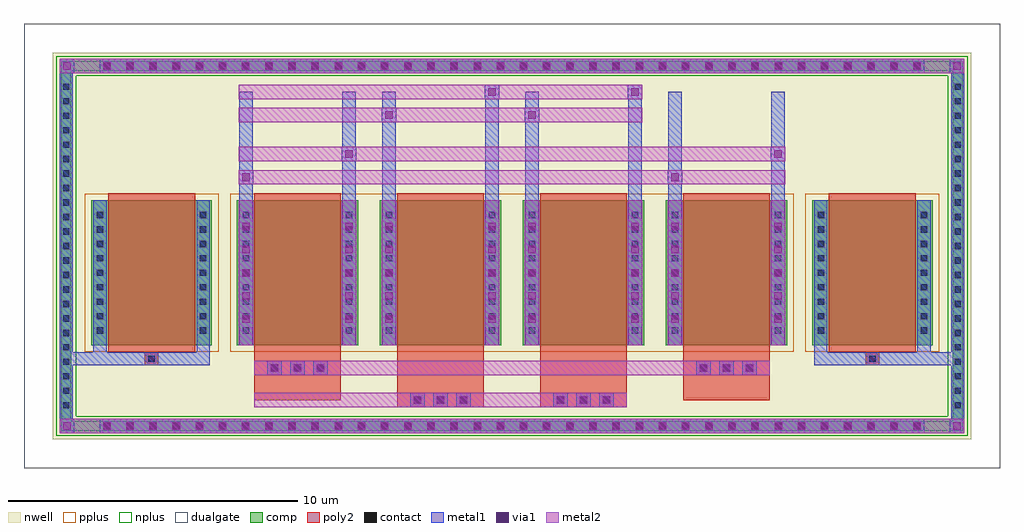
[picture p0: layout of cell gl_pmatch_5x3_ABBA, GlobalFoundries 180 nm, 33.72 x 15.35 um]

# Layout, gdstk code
import gdstk
lib = gdstk.Library(unit=1e-6, precision=1e-09)
def R(c, l, rs):  # rectangles x0, y0, x1, y1
    for r in rs: c.add(gdstk.rectangle(r[:2], r[2:], *l))
def A(c, l, x, y, w, h, nx, ny, dx, dy):  # array of equal rectangles
    R(c, l, [(x+i*dx, y+j*dy, x+i*dx+w, y+j*dy+h) for i in range(nx) for j in range(ny)])
def P(c, l, *ps):  # polygons
    for p in ps: c.add(gdstk.Polygon(p, *l))
nwell = (21, 0)
comp = (22, 0)
poly2 = (30, 0)
pplus = (31, 0)
nplus = (32, 0)
contact = (33, 0)
metal1 = (34, 0)
via1 = (35, 0)
metal2 = (36, 0)
dualgate = (55, 0)

gl_pmatch_5x3_abba = lib.new_cell('gl_pmatch_5x3_ABBA')
R(gl_pmatch_5x3_abba, nwell, [(-15.86,-6.675,15.86,6.675), (-15.7,-6.515,15.7,6.515)])
A(gl_pmatch_5x3_abba, comp, -14.18, -6.395, 0.36, 0.36, 36, 2, 0.8, 12.43)
A(gl_pmatch_5x3_abba, comp, -15.58, -5.68, 0.36, 0.36, 1, 23, 0, 0.5)
A(gl_pmatch_5x3_abba, comp, 15.22, -5.68, 0.36, 0.36, 1, 23, 0, 0.5)
A(gl_pmatch_5x3_abba, comp, -9.51, -3.425, 4.2, 5, 4, 1, 4.94, 0)
R(gl_pmatch_5x3_abba, comp, [(-14.18,-6.395,14.18,-6.035), (-15.58,-5.68,-15.22,5.68), (15.22,-5.68,15.58,5.68), (-14.53,-3.425,-10.37,1.575), (10.37,-3.425,14.53,1.575), (-14.18,6.035,14.18,6.395)])
P(gl_pmatch_5x3_abba, comp, [(-15.58,-6.395),(-15.58,-6.035),(-15.22,-6.035),(15.22,-6.035),(15.22,6.035),(-15.22,6.035),(-15.22,-6.035),(-15.58,-6.035),(-15.58,6.395),(15.58,6.395),(15.58,-6.395)])
A(gl_pmatch_5x3_abba, poly2, -3.45, -5.505, 0.36, 0.36, 3, 1, 0.8, 0)
A(gl_pmatch_5x3_abba, poly2, 1.49, -5.505, 0.36, 0.36, 3, 1, 0.8, 0)
A(gl_pmatch_5x3_abba, poly2, -8.39, -4.395, 0.36, 0.36, 3, 1, 0.8, 0)
A(gl_pmatch_5x3_abba, poly2, 6.43, -4.395, 0.36, 0.36, 3, 1, 0.8, 0)
A(gl_pmatch_5x3_abba, poly2, -8.91, -3.665, 3, 5.48, 4, 1, 4.94, 0)
R(gl_pmatch_5x3_abba, poly2, [(-3.97,-5.575,-0.97,-5.075), (0.97,-5.575,3.97,-5.075), (-8.91,-5.325,-5.91,-3.665), (5.91,-5.325,8.91,-3.665), (-3.97,-5.075,-0.97,-3.665), (0.97,-5.075,3.97,-3.665), (-8.91,-4.465,-5.91,-3.965), (5.91,-4.465,8.91,-3.965), (-12.68,-4.125,-12.22,-3.665), (12.22,-4.125,12.68,-3.665), (-12.63,-4.075,-12.27,-3.715), (12.27,-4.075,12.63,-3.715), (-8.91,-3.965,-5.91,-3.665), (5.91,-3.965,8.91,-3.665), (-13.95,-3.665,-10.95,1.815), (10.95,-3.665,13.95,1.815)])
A(gl_pmatch_5x3_abba, pplus, -9.74, -3.655, 4.66, 5.46, 4, 1, 4.94, 0)
R(gl_pmatch_5x3_abba, pplus, [(-14.76,-3.655,-10.14,1.805), (-9.74,-3.655,9.74,1.805), (10.14,-3.655,14.76,1.805)])
P(gl_pmatch_5x3_abba, nplus, [(-15.74,-6.555),(-15.74,-5.875),(-15.06,-5.875),(15.06,-5.875),(15.06,5.875),(-15.06,5.875),(-15.06,-5.875),(-15.74,-5.875),(-15.74,6.555),(15.74,6.555),(15.74,-6.555)])
A(gl_pmatch_5x3_abba, contact, -14.11, -6.325, 0.22, 0.22, 36, 2, 0.8, 12.43)
A(gl_pmatch_5x3_abba, contact, -15.51, -5.61, 0.22, 0.22, 1, 23, 0, 0.5)
A(gl_pmatch_5x3_abba, contact, 15.29, -5.61, 0.22, 0.22, 1, 23, 0, 0.5)
A(gl_pmatch_5x3_abba, contact, -3.38, -5.435, 0.22, 0.22, 3, 1, 0.8, 0)
A(gl_pmatch_5x3_abba, contact, 1.56, -5.435, 0.22, 0.22, 3, 1, 0.8, 0)
A(gl_pmatch_5x3_abba, contact, -8.32, -4.325, 0.22, 0.22, 3, 1, 0.8, 0)
A(gl_pmatch_5x3_abba, contact, 6.5, -4.325, 0.22, 0.22, 3, 1, 0.8, 0)
A(gl_pmatch_5x3_abba, contact, -14.34, -3.035, 0.22, 0.22, 1, 9, 0, 0.5)
A(gl_pmatch_5x3_abba, contact, -10.78, -3.035, 0.22, 0.22, 1, 9, 0, 0.5)
A(gl_pmatch_5x3_abba, contact, -9.3, -3.035, 0.22, 0.22, 1, 9, 0, 0.5)
A(gl_pmatch_5x3_abba, contact, -5.74, -3.035, 0.22, 0.22, 1, 9, 0, 0.5)
A(gl_pmatch_5x3_abba, contact, -4.36, -3.035, 0.22, 0.22, 1, 9, 0, 0.5)
A(gl_pmatch_5x3_abba, contact, -0.8, -3.035, 0.22, 0.22, 1, 9, 0, 0.5)
A(gl_pmatch_5x3_abba, contact, 0.58, -3.035, 0.22, 0.22, 1, 9, 0, 0.5)
A(gl_pmatch_5x3_abba, contact, 4.14, -3.035, 0.22, 0.22, 1, 9, 0, 0.5)
A(gl_pmatch_5x3_abba, contact, 5.52, -3.035, 0.22, 0.22, 1, 9, 0, 0.5)
A(gl_pmatch_5x3_abba, contact, 9.08, -3.035, 0.22, 0.22, 1, 9, 0, 0.5)
A(gl_pmatch_5x3_abba, contact, 10.56, -3.035, 0.22, 0.22, 1, 9, 0, 0.5)
A(gl_pmatch_5x3_abba, contact, 14.12, -3.035, 0.22, 0.22, 1, 9, 0, 0.5)
R(gl_pmatch_5x3_abba, contact, [(-12.56,-4.005,-12.34,-3.785), (12.34,-4.005,12.56,-3.785)])
A(gl_pmatch_5x3_abba, metal1, -14.25, -6.465, 0.5, 0.5, 36, 2, 0.8, 12.43)
A(gl_pmatch_5x3_abba, metal1, -15.63, -5.73, 0.46, 0.46, 1, 23, 0, 0.5)
A(gl_pmatch_5x3_abba, metal1, 15.17, -5.73, 0.46, 0.46, 1, 23, 0, 0.5)
A(gl_pmatch_5x3_abba, metal1, -3.52, -5.575, 0.5, 0.5, 3, 1, 0.8, 0)
A(gl_pmatch_5x3_abba, metal1, 1.42, -5.575, 0.5, 0.5, 3, 1, 0.8, 0)
A(gl_pmatch_5x3_abba, metal1, -8.46, -4.465, 0.5, 0.5, 3, 1, 0.8, 0)
A(gl_pmatch_5x3_abba, metal1, 6.36, -4.465, 0.5, 0.5, 3, 1, 0.8, 0)
A(gl_pmatch_5x3_abba, metal1, -14.46, -3.155, 0.46, 0.46, 1, 9, 0, 0.5)
A(gl_pmatch_5x3_abba, metal1, -10.9, -3.155, 0.46, 0.46, 1, 9, 0, 0.5)
A(gl_pmatch_5x3_abba, metal1, -9.42, -3.155, 0.46, 0.46, 1, 9, 0, 0.5)
A(gl_pmatch_5x3_abba, metal1, -5.86, -3.155, 0.46, 0.46, 1, 9, 0, 0.5)
A(gl_pmatch_5x3_abba, metal1, -4.48, -3.155, 0.46, 0.46, 1, 9, 0, 0.5)
A(gl_pmatch_5x3_abba, metal1, -0.92, -3.155, 0.46, 0.46, 1, 9, 0, 0.5)
A(gl_pmatch_5x3_abba, metal1, 0.46, -3.155, 0.46, 0.46, 1, 9, 0, 0.5)
A(gl_pmatch_5x3_abba, metal1, 4.02, -3.155, 0.46, 0.46, 1, 9, 0, 0.5)
A(gl_pmatch_5x3_abba, metal1, 5.4, -3.155, 0.46, 0.46, 1, 9, 0, 0.5)
A(gl_pmatch_5x3_abba, metal1, 8.96, -3.155, 0.46, 0.46, 1, 9, 0, 0.5)
A(gl_pmatch_5x3_abba, metal1, 10.44, -3.155, 0.46, 0.46, 1, 9, 0, 0.5)
A(gl_pmatch_5x3_abba, metal1, 14, -3.155, 0.46, 0.46, 1, 9, 0, 0.5)
A(gl_pmatch_5x3_abba, metal1, -9.44, -2.775, 0.5, 0.5, 1, 5, 0, 0.8)
A(gl_pmatch_5x3_abba, metal1, -5.88, -2.775, 0.5, 0.5, 1, 5, 0, 0.8)
A(gl_pmatch_5x3_abba, metal1, -4.5, -2.775, 0.5, 0.5, 1, 5, 0, 0.8)
A(gl_pmatch_5x3_abba, metal1, -0.94, -2.775, 0.5, 0.5, 1, 5, 0, 0.8)
A(gl_pmatch_5x3_abba, metal1, 0.44, -2.775, 0.5, 0.5, 1, 5, 0, 0.8)
A(gl_pmatch_5x3_abba, metal1, 4, -2.775, 0.5, 0.5, 1, 5, 0, 0.8)
A(gl_pmatch_5x3_abba, metal1, 5.38, -2.775, 0.5, 0.5, 1, 5, 0, 0.8)
A(gl_pmatch_5x3_abba, metal1, 8.94, -2.775, 0.5, 0.5, 1, 5, 0, 0.8)
R(gl_pmatch_5x3_abba, metal1, [(-15.63,-6.465,-15.13,-5.965), (-15.63,-6.465,-15.13,-5.965), (-15.63,-6.465,-15.17,-6.035), (-14.25,-6.465,14.25,-5.965), (15.13,-6.465,15.63,-5.965), (15.13,-6.465,15.63,-5.965), (15.17,-6.465,15.63,-6.035), (-15.63,-6.035,-15.17,6.035), (15.17,-6.035,15.63,6.035), (-15.63,-4.125,-12.68,-3.665), (-14.46,-4.125,-12.68,-3.665), (-14.46,-4.125,-14,-3.425), (-12.68,-4.125,-12.22,-3.665), (-12.22,-4.125,-10.44,-3.665), (-10.9,-4.125,-10.44,-3.425), (10.44,-4.125,12.22,-3.665), (10.44,-4.125,10.9,-3.425), (12.22,-4.125,12.68,-3.665), (12.68,-4.125,14.46,-3.665), (12.68,-4.125,15.63,-3.665), (14,-4.125,14.46,-3.425), (-14.46,-3.425,-14,1.575), (-10.9,-3.425,-10.44,1.575), (-9.42,-3.425,-8.96,1.575), (-5.86,-3.425,-5.4,1.575), (-4.48,-3.425,-4.02,1.575), (-0.92,-3.425,-0.46,1.575), (0.46,-3.425,0.92,1.575), (4.02,-3.425,4.48,1.575), (5.4,-3.425,5.86,1.575), (8.96,-3.425,9.42,1.575), (10.44,-3.425,10.9,1.575), (14,-3.425,14.46,1.575), (-9.44,-2.775,-8.94,0.925), (-5.88,-2.775,-5.38,0.925), (-4.5,-2.775,-4,0.925), (-0.94,-2.775,-0.44,0.925), (0.44,-2.775,0.94,0.925), (4,-2.775,4.5,0.925), (5.38,-2.775,5.88,0.925), (8.94,-2.775,9.44,0.925), (-9.42,1.575,-8.96,2.625), (-9.42,1.575,-8.96,5.325), (-5.86,1.575,-5.4,3.425), (-5.86,1.575,-5.4,5.325), (-4.48,1.575,-4.02,4.775), (-4.48,1.575,-4.02,5.325), (-0.92,1.575,-0.46,5.575), (-0.92,1.575,-0.46,5.325), (0.46,1.575,0.92,4.775), (0.46,1.575,0.92,5.325), (4.02,1.575,4.48,5.575), (4.02,1.575,4.48,5.325), (5.4,1.575,5.86,2.625), (5.4,1.575,5.86,5.325), (8.96,1.575,9.42,3.425), (8.96,1.575,9.42,5.325), (-9.44,2.125,-8.94,2.625), (5.38,2.125,5.88,2.625), (-5.88,2.925,-5.38,3.425), (8.94,2.925,9.44,3.425), (-4.5,4.275,-4,4.775), (0.44,4.275,0.94,4.775), (-0.94,5.075,-0.44,5.575), (4,5.075,4.5,5.575), (-15.63,5.965,-15.13,6.465), (-15.63,5.965,-15.13,6.465), (-14.25,5.965,14.25,6.465), (15.13,5.965,15.63,6.465), (15.13,5.965,15.63,6.465), (-15.63,6.035,-15.17,6.465), (15.17,6.035,15.63,6.465)])
A(gl_pmatch_5x3_abba, via1, -14.13, -6.345, 0.26, 0.26, 36, 2, 0.8, 12.43)
A(gl_pmatch_5x3_abba, via1, -3.4, -5.455, 0.26, 0.26, 3, 1, 0.8, 0)
A(gl_pmatch_5x3_abba, via1, 1.54, -5.455, 0.26, 0.26, 3, 1, 0.8, 0)
A(gl_pmatch_5x3_abba, via1, -8.34, -4.345, 0.26, 0.26, 3, 1, 0.8, 0)
A(gl_pmatch_5x3_abba, via1, 6.48, -4.345, 0.26, 0.26, 3, 1, 0.8, 0)
A(gl_pmatch_5x3_abba, via1, -9.32, -2.655, 0.26, 0.26, 1, 5, 0, 0.8)
A(gl_pmatch_5x3_abba, via1, -5.76, -2.655, 0.26, 0.26, 1, 5, 0, 0.8)
A(gl_pmatch_5x3_abba, via1, -4.38, -2.655, 0.26, 0.26, 1, 5, 0, 0.8)
A(gl_pmatch_5x3_abba, via1, -0.82, -2.655, 0.26, 0.26, 1, 5, 0, 0.8)
A(gl_pmatch_5x3_abba, via1, 0.56, -2.655, 0.26, 0.26, 1, 5, 0, 0.8)
A(gl_pmatch_5x3_abba, via1, 4.12, -2.655, 0.26, 0.26, 1, 5, 0, 0.8)
A(gl_pmatch_5x3_abba, via1, 5.5, -2.655, 0.26, 0.26, 1, 5, 0, 0.8)
A(gl_pmatch_5x3_abba, via1, 9.06, -2.655, 0.26, 0.26, 1, 5, 0, 0.8)
R(gl_pmatch_5x3_abba, via1, [(-15.51,-6.345,-15.25,-6.085), (15.25,-6.345,15.51,-6.085), (-9.32,2.245,-9.06,2.505), (5.5,2.245,5.76,2.505), (-5.76,3.045,-5.5,3.305), (9.06,3.045,9.32,3.305), (-4.38,4.395,-4.12,4.655), (0.56,4.395,0.82,4.655), (-0.82,5.195,-0.56,5.455), (4.12,5.195,4.38,5.455), (-15.51,6.085,-15.25,6.345), (15.25,6.085,15.51,6.345)])
A(gl_pmatch_5x3_abba, metal2, -14.25, -6.465, 0.5, 0.5, 36, 2, 0.8, 12.43)
A(gl_pmatch_5x3_abba, metal2, -3.52, -5.575, 0.5, 0.5, 3, 1, 0.8, 0)
A(gl_pmatch_5x3_abba, metal2, 1.42, -5.575, 0.5, 0.5, 3, 1, 0.8, 0)
A(gl_pmatch_5x3_abba, metal2, -8.46, -4.465, 0.5, 0.5, 3, 1, 0.8, 0)
A(gl_pmatch_5x3_abba, metal2, 6.36, -4.465, 0.5, 0.5, 3, 1, 0.8, 0)
A(gl_pmatch_5x3_abba, metal2, -9.44, -2.775, 0.5, 0.5, 1, 5, 0, 0.8)
A(gl_pmatch_5x3_abba, metal2, -5.88, -2.775, 0.5, 0.5, 1, 5, 0, 0.8)
A(gl_pmatch_5x3_abba, metal2, -4.5, -2.775, 0.5, 0.5, 1, 5, 0, 0.8)
A(gl_pmatch_5x3_abba, metal2, -0.94, -2.775, 0.5, 0.5, 1, 5, 0, 0.8)
A(gl_pmatch_5x3_abba, metal2, 0.44, -2.775, 0.5, 0.5, 1, 5, 0, 0.8)
A(gl_pmatch_5x3_abba, metal2, 4, -2.775, 0.5, 0.5, 1, 5, 0, 0.8)
A(gl_pmatch_5x3_abba, metal2, 5.38, -2.775, 0.5, 0.5, 1, 5, 0, 0.8)
A(gl_pmatch_5x3_abba, metal2, 8.94, -2.775, 0.5, 0.5, 1, 5, 0, 0.8)
R(gl_pmatch_5x3_abba, metal2, [(-15.63,-6.465,-15.13,-5.965), (-15.63,-6.465,-15.13,-5.965), (-15.63,-6.465,-15.22,-5.965), (-15.22,-6.465,15.22,-5.965), (15.13,-6.465,15.63,-5.965), (15.13,-6.465,15.63,-5.965), (15.22,-6.465,15.63,-5.965), (-8.91,-5.575,3.97,-5.075), (-3.97,-5.575,-0.97,-5.075), (0.97,-5.575,3.97,-5.075), (-8.91,-4.465,8.91,-3.965), (-8.91,-4.465,-5.91,-3.965), (5.91,-4.465,8.91,-3.965), (-9.44,-3.425,-8.94,1.575), (-5.88,-3.425,-5.38,1.575), (-4.5,-3.425,-4,1.575), (-0.94,-3.425,-0.44,1.575), (0.44,-3.425,0.94,1.575), (4,-3.425,4.5,1.575), (5.38,-3.425,5.88,1.575), (8.94,-3.425,9.44,1.575), (-9.44,2.125,-8.94,2.625), (-9.44,2.125,9.44,2.625), (-9.44,2.125,-5.38,2.625), (5.38,2.125,5.88,2.625), (5.38,2.125,9.44,2.625), (-9.44,2.925,9.44,3.425), (-9.44,2.925,-5.38,3.425), (-5.88,2.925,-5.38,3.425), (5.38,2.925,9.44,3.425), (8.94,2.925,9.44,3.425), (-9.44,4.275,4.5,4.775), (-4.5,4.275,-4,4.775), (-4.5,4.275,-0.44,4.775), (0.44,4.275,0.94,4.775), (0.44,4.275,4.5,4.775), (-9.44,5.075,4.5,5.575), (-4.5,5.075,-0.44,5.575), (-0.94,5.075,-0.44,5.575), (0.44,5.075,4.5,5.575), (4,5.075,4.5,5.575), (-15.63,5.965,-15.13,6.465), (-15.63,5.965,-15.13,6.465), (-15.63,5.965,-15.22,6.465), (-15.22,5.965,15.22,6.465), (15.13,5.965,15.63,6.465), (15.13,5.965,15.63,6.465), (15.22,5.965,15.63,6.465)])
R(gl_pmatch_5x3_abba, dualgate, [(-16.86,-7.675,16.86,7.675)])

lib.write_gds('gl_pmatch_5x3_ABBA.gds')
